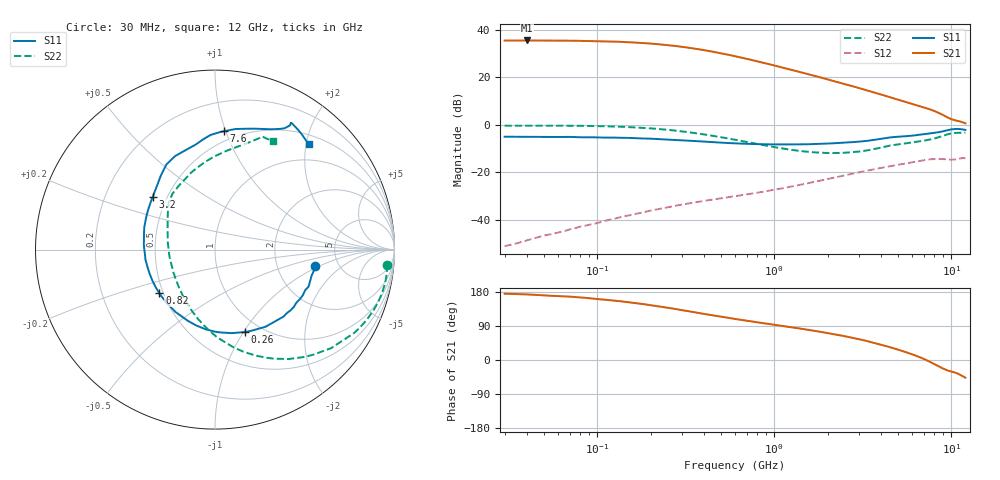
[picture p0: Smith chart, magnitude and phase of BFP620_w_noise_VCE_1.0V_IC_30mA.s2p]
! (c) 2015  Infineon Technologies AG, Munich
! Infineon Technologies  Discrete & RF Semiconductors
! BFP620
! VCE =  1.0 V,  IC =  30 mA
! Common Emitter S-Parameters:  Nov 2015
# GHz  S  MA  R  50
!  f  S11  S21  S12  S22
! GHz  MAG  ANG  MAG  ANG  MAG  ANG  MAG  ANG
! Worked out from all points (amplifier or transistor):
!   239 points, 30 MHz to 12 GHz, reference 50 ohm
!   highest |S21| = 35.6 dB at 40 MHz (marker M1)
!   |S21| within 3 dB of that: start of sweep to 324.3 MHz
!   unconditionally stable (mu >= 1): 2.495 GHz to end of sweep
!   at 300 MHz: K = 0.36, MSG = 33.2 dB, |S12| = -33.6 dB
!   at 1.88 GHz: K = 0.96, MSG = 21.5 dB, |S12| = -23.2 dB
!   at 12 GHz: K = 1.08, MAG = 5.6 dB, |S12| = -14.0 dB
!   lowest NFmin = 1.15 dB at 450 MHz
!   S11 on the Smith chart (normalised r, x): 30 MHz: 3.34, -0.90; 260 MHz: 0.84, -1.01; 820 MHz: 0.48, -0.27; 3.2 GHz: 0.42, +0.31; 7.6 GHz: 0.42, +0.99; 12 GHz: 0.67, +2.05
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0.03  0.5656 -9.3  59.91 174.9  0.0028 90.3  0.9623 -5.0
0.04  0.5621 -12.6  60.17 173.1  0.0037 88.1  0.9653 -7.2
0.05  0.5575 -15.0  59.9 170.3  0.0047 87.1  0.9667 -9.5
0.07  0.5606 -21.6  59.67 167.2  0.0063 83.0  0.9626 -14.1
0.085  0.5509 -25.9  58.91 164.2  0.0075 80.9  0.9554 -17.4
0.115  0.542 -34.6  57.58 158.5  0.0099 77.3  0.9349 -23.8
0.145  0.534 -42.8  55.66 153.4  0.0121 74.5  0.908 -30.0
0.19  0.516 -54.2  52.42 146.3  0.015 70.3  0.8578 -38.3
0.24  0.4957 -65.9  48.68 139.2  0.0179 66.9  0.8017 -46.9
0.26  0.4882 -70.3  47.21 136.6  0.019 65.7  0.7793 -50.1
0.3  0.4746 -78.7  44.32 131.6  0.021 63.4  0.7347 -56.1
0.4  0.4474 -96.5  37.71 121.7  0.0251 59.6  0.6333 -68.9
0.5  0.4248 -110.8  32.28 114.2  0.0285 57.3  0.5518 -79.6
0.6  0.4112 -122.5  28.04 108.3  0.0316 56.1  0.4884 -88.7
0.82  0.3941 -141.8  21.43 98.8  0.0379 55.0  0.391 -105.0
1.1  0.3885 -158.9  16.31 90.0  0.046 54.3  0.3221 -122.2
1.64  0.395 178.9  11.11 77.9  0.0619 51.8  0.2664 -148.8
2.4  0.4202 157.1  7.567 64.3  0.0838 45.9  0.2583 -178.9
3.2  0.4546 139.7  5.621 52.1  0.1054 38.1  0.2838 158.5
4.5  0.5462 119.7  3.828 33.6  0.1349 25.0  0.3677 134.6
7.6  0.6618 85.6  2.116 -5.3  0.189 -7.0  0.4953 95.5
12  0.7858 48.4  1.08 -46.7  0.1992 -43.2  0.687 61.8
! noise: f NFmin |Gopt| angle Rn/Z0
0.45  1.15  0.14  -158  0.1
0.9  1.15  0.17  -148  0.1
1.9  1.16  0.21  -139  0.11
2.4  1.18  0.22  -136  0.11
3.5  1.23  0.3  -99  0.17
5.5  1.48  0.33  -84  0.22
10  1.86  0.62  -46  0.9
